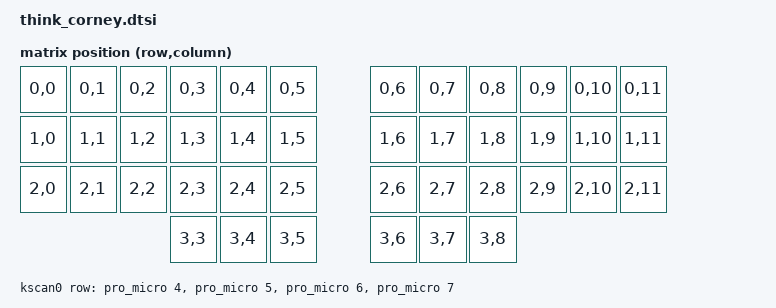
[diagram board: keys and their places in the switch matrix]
/*
 * Copyright (c) 2020 Pete Johanson
 * SPDX-License-Identifier: MIT
 */

#include <dt-bindings/zmk/matrix_transform.h>

/ {
    chosen {
        zmk,kscan = &kscan0;
        zmk,matrix_transform = &default_transform;
    };

    default_transform: keymap_transform_0 {
        compatible = "zmk,matrix-transform";
        columns = <12>;
        rows = <4>;
        map = <
RC(0,0) RC(0,1) RC(0,2) RC(0,3) RC(0,4) RC(0,5)  RC(0,6) RC(0,7) RC(0,8) RC(0,9) RC(0,10) RC(0,11)
RC(1,0) RC(1,1) RC(1,2) RC(1,3) RC(1,4) RC(1,5)  RC(1,6) RC(1,7) RC(1,8) RC(1,9) RC(1,10) RC(1,11)
RC(2,0) RC(2,1) RC(2,2) RC(2,3) RC(2,4) RC(2,5)  RC(2,6) RC(2,7) RC(2,8) RC(2,9) RC(2,10) RC(2,11)
                        RC(3,3) RC(3,4) RC(3,5)  RC(3,6) RC(3,7) RC(3,8)
        >;
    };

    kscan0: kscan {
        compatible = "zmk,kscan-gpio-matrix";
        wakeup-source;
        diode-direction = "col2row";
        row-gpios
            = <&pro_micro 4 (GPIO_ACTIVE_HIGH | GPIO_PULL_DOWN)>
            , <&pro_micro 5 (GPIO_ACTIVE_HIGH | GPIO_PULL_DOWN)>
            , <&pro_micro 6 (GPIO_ACTIVE_HIGH | GPIO_PULL_DOWN)>
            , <&pro_micro 7 (GPIO_ACTIVE_HIGH | GPIO_PULL_DOWN)>;
    };
};

/*
 * nice!view support for nice!nano + nice_view_adapter.
 * ZMK's nice!view shield expects a `nice_view_spi`-labeled SPI bus.
 * Define it here explicitly so the shield does not depend on a board-specific
 * adapter overlay that may not be present in newer upstream layouts.
 *
 * Default nice!view adapter pins:
 *   CS   = D1 / P0.06
 *   MOSI = D2 / P0.17
 *   SCK  = D3 / P0.20
 */
&pinctrl {
    nice_view_spi_default: nice_view_spi_default {
        group1 {
            psels = <NRF_PSEL(SPIM_SCK, 0, 20)>,
                    <NRF_PSEL(SPIM_MOSI, 0, 17)>,
                    <NRF_PSEL(SPIM_MISO, 0, 25)>;
        };
    };

    nice_view_spi_sleep: nice_view_spi_sleep {
        group1 {
            psels = <NRF_PSEL(SPIM_SCK, 0, 20)>,
                    <NRF_PSEL(SPIM_MOSI, 0, 17)>,
                    <NRF_PSEL(SPIM_MISO, 0, 25)>;
            low-power-enable;
        };
    };
};

nice_view_spi: &spi0 {
    compatible = "nordic,nrf-spim";
    status = "okay";
    pinctrl-0 = <&nice_view_spi_default>;
    pinctrl-1 = <&nice_view_spi_sleep>;
    pinctrl-names = "default", "sleep";
    cs-gpios = <&pro_micro 9 GPIO_ACTIVE_HIGH>;
};
